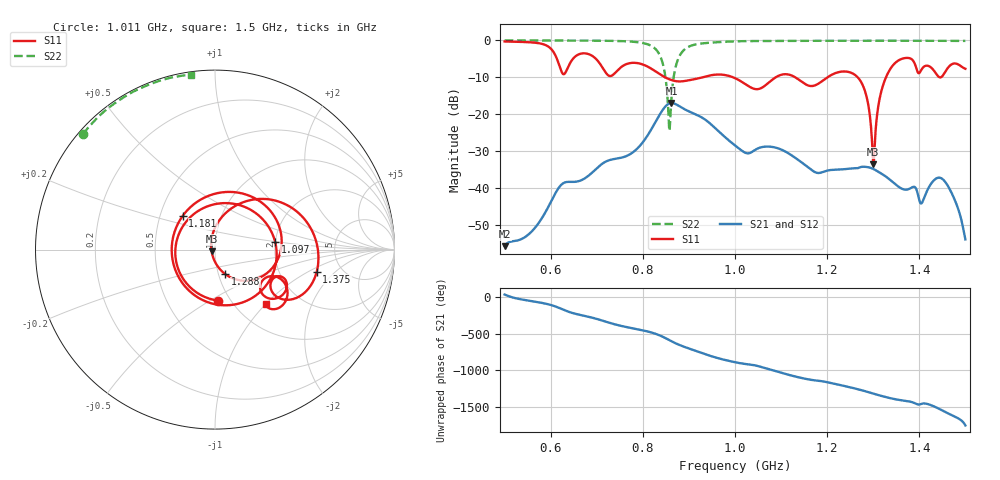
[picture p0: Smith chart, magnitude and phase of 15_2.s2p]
! TOUCHSTONE file generated by CST MICROWAVE STUDIO
! Date and time: Mon Nov 30 09:07:44 2020
! Project name: Scenario_1_Planar_Body_Tissue_Out_of_Line_v2.cst
! Parameters = {dy1=-103.8; L_HA=400; Ltissue=700; MT=2.54; Rad_Dielectric=30; Rad_Lower=7.3; Rad_Upper=30; Wtissue=700; a_HA=580; a_WG=246; b_HA=500; b_WG=121; c_HA=0; c_WG=187; d_feed=85; dx1=346; h_feed=15; h_lower=18; h_upper=40; hfat=3; hgap=25; hmuscle=50; hskin=1.5}
! Header version: 2018
! Port assignment regex: !\s*Touchstone port\s*([0-9]+)\s*=\s*(CST MWS port|CST DS port)\s*([0-9]+|Zmin|Zmax)\s*\(\"(.*)\"\)(\s*mode\s*([0-9]+))?.*
! Touchstone port assignment:
! Touchstone port 1 = CST MWS port 1 ("")
! Touchstone port 2 = CST MWS port 2 ("")
# GHz S DB R 50
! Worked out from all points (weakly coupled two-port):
!   1003 points, 500 MHz to 1.5 GHz, reference 50 ohm
!   highest |S21| = -16.94 dB at 862 MHz (marker M1); lowest = -55.7 dB at 500 MHz (marker M2)
!   lowest |S11| = -33.6 dB at 1.3 GHz (marker M3), VSWR 1.04, Z = 48.1 - j0.848 ohm
!   |S11| at or under -10 dB: 848.5 MHz to 928.8 MHz (80.26 MHz wide, 9.03 % of centre); 996.2 MHz to 1.088 GHz (91.93 MHz wide, 8.82 % of centre); 1.131 GHz to 1.2 GHz (69.55 MHz wide, 5.97 % of centre)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
!   |S22| runs from -24.5 to 0.0 dB; largest |S21 - S12| = 0.00063
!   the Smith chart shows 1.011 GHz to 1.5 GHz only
!   S11 on the Smith chart (normalised r, x): 1.011 GHz: 0.88, -0.54; 1.097 GHz: 1.99, +0.20; 1.181 GHz: 0.65, +0.26; 1.288 GHz: 1.08, -0.30; 1.375 GHz: 3.27, -1.21; 1.5 GHz: 1.37, -1.00
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0.5  -0.28 -121.8  -55.67 32.6  -55.67 32.6  -0.01 151.1
0.667  -3.54 157.1  -37.80 109.8  -37.80 109.8  -0.04 138.4
0.695  -4.62 101.1  -35.19 68.3  -35.19 68.3  -0.06 135.4
0.717  -8.26 24.3  -32.96 27.3  -32.96 27.3  -0.09 132.7
0.741  -8.63 -97.7  -32.01 -17.5  -32.01 -17.5  -0.14 129.0
0.77  -6.19 174.6  -30.95 -58.7  -30.95 -58.7  -0.28 123.0
0.834  -8.93 30.7  -20.63 -159.0  -20.63 -159.0  -3.37 83.8
0.862  -10.71 -45.0  -16.94 114.8  -16.94 114.8  -15.73 -124.4
0.882  -11.10 -108.5  -18.01 57.1  -18.01 57.1  -3.69 -174.4
0.938  -9.70 84.1  -21.68 -67.8  -21.68 -67.9  -0.69 151.4
1  -10.21 -60.1  -28.41 -171.9  -28.39 -171.9  -0.25 140.3
1.011  -10.92 -86.8  -29.48 174.8  -29.46 174.7  -0.22 138.8
1.097  -9.43 7.6  -29.35 50.0  -29.35 50.0  -0.12 129.9
1.167  -12.34 175.2  -35.13 -54.7  -35.16 -54.8  -0.10 124.1
1.181  -11.69 133.7  -35.88 -65.2  -35.89 -65.2  -0.10 123.1
1.241  -8.42 15.3  -34.80 -141.9  -34.81 -142.9  -0.08 118.5
1.288  -16.61 -67.4  -34.28 141.2  -34.27 141.3  -0.09 115.0
1.3  -33.57 -155.1  -34.77 118.4  -34.79 118.4  -0.09 114.1
1.334  -8.35 47.7  -37.46 61.3  -37.46 61.3  -0.08 111.5
1.375  -4.73 -12.2  -40.31 15.5  -40.31 15.5  -0.09 108.3
1.451  -9.50 -26.6  -37.58 -115.5  -37.58 -115.5  -0.11 102.1
1.5  -7.68 -46.8  -53.84 44.0  -53.84 44.0  -0.13 97.9
